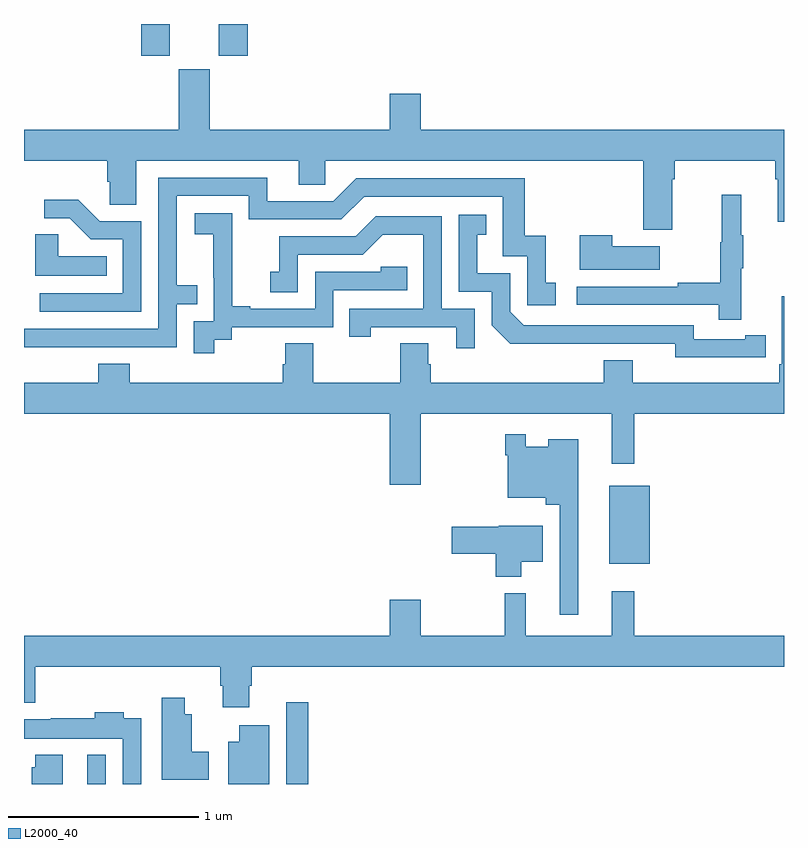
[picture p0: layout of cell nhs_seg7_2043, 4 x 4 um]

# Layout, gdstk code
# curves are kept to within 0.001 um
import gdstk
lib = gdstk.Library(unit=1e-6, precision=1e-09)
def R(c, l, rs):  # rectangles x0, y0, x1, y1
    for r in rs: c.add(gdstk.rectangle(r[:2], r[2:], *l))
def P(c, l, *ps):  # polygons
    for p in ps: c.add(gdstk.Polygon(p, *l))
L2000_40 = (2000, 40)

nhs_seg7_2043 = lib.new_cell('nhs_seg7_2043')
R(nhs_seg7_2043, L2000_40, [(247.334,1000,247.431,1000.153), (248.379,1000,248.495,1000.429), (250.079,1001.159,250.294,1001.569), (247.616,1003.833,247.768,1004), (248.024,1003.833,248.177,1004)])
P(nhs_seg7_2043, L2000_40, [(250.411,1003.184),(250.424,1003.184),(250.424,1003.28),(250.955,1003.28),(250.955,1003.184),(250.967,1003.184),(250.967,1002.96),(251,1002.96),(251,1003.444),(249.088,1003.444),(249.088,1003.633),(248.924,1003.633),(248.924,1003.444),(247.978,1003.444),(247.978,1003.761),(247.814,1003.761),(247.814,1003.444),(247,1003.444),(247,1003.28),(247.439,1003.28),(247.439,1003.171),(247.452,1003.171),(247.452,1003.048),(247.591,1003.048),(247.591,1003.28),(248.447,1003.28),(248.447,1003.153),(248.586,1003.153),(248.586,1003.28),(250.259,1003.28),(250.259,1002.918),(250.411,1002.918)],
  [(247.307,1002.3),(247.803,1002.3),(247.803,1002.525),(247.913,1002.525),(247.913,1002.626),(247.803,1002.626),(247.803,1003.095),(248.184,1003.095),(248.184,1002.972),(248.67,1002.972),(248.79,1003.092),(249.519,1003.092),(249.519,1002.777),(249.648,1002.777),(249.648,1002.519),(249.799,1002.519),(249.799,1002.639),(249.746,1002.639),(249.746,1002.886),(249.635,1002.886),(249.635,1003.188),(248.748,1003.188),(248.628,1003.068),(248.281,1003.068),(248.281,1003.191),(247.707,1003.191),(247.707,1002.396),(247,1002.396),(247,1002.299)],
  [(250.775,1002.715),(250.786,1002.715),(250.786,1002.889),(250.775,1002.889),(250.775,1003.102),(250.672,1003.102),(250.672,1002.852),(250.665,1002.852),(250.665,1002.638),(250.441,1002.638),(250.441,1002.618),(249.909,1002.618),(249.909,1002.522),(250.657,1002.522),(250.657,1002.444),(250.775,1002.444)],
  [(247.617,1002.963),(247.398,1002.963),(247.285,1003.076),(247.107,1003.076),(247.107,1002.978),(247.241,1002.978),(247.352,1002.867),(247.521,1002.867),(247.521,1002.582),(247.083,1002.582),(247.083,1002.486),(247.617,1002.486)],
  [(248.002,1002.337),(248.094,1002.337),(248.094,1002.405),(248.628,1002.405),(248.628,1002.6),(249.017,1002.6),(249.017,1002.723),(248.877,1002.723),(248.877,1002.696),(248.532,1002.696),(248.532,1002.501),(248.191,1002.501),(248.191,1002.514),(248.096,1002.514),(248.096,1002.797),(248.097,1002.797),(248.097,1003.003),(247.899,1003.003),(247.899,1002.893),(247.997,1002.893),(247.997,1002.665),(247.998,1002.665),(247.998,1002.435),(247.893,1002.435),(247.893,1002.267),(248.002,1002.267)],
  [(250.796,1002.246),(250.904,1002.246),(250.904,1002.362),(250.796,1002.362),(250.796,1002.342),(250.524,1002.342),(250.524,1002.414),(249.63,1002.414),(249.558,1002.486),(249.558,1002.687),(249.385,1002.687),(249.385,1002.891),(249.434,1002.891),(249.434,1002.997),(249.288,1002.997),(249.288,1002.591),(249.462,1002.591),(249.462,1002.414),(249.56,1002.317),(250.428,1002.318),(250.428,1002.245)],
  [(249.372,1002.501),(249.198,1002.501),(249.198,1002.987),(248.852,1002.987),(248.747,1002.882),(248.344,1002.882),(248.344,1002.697),(248.295,1002.697),(248.295,1002.588),(248.442,1002.588),(248.442,1002.786),(248.784,1002.786),(248.888,1002.89),(249.102,1002.89),(249.102,1002.501),(248.713,1002.501),(248.713,1002.354),(248.824,1002.354),(248.824,1002.405),(249.275,1002.405),(249.275,1002.294),(249.372,1002.294)],
  [(247.436,1002.778),(247.179,1002.778),(247.179,1002.893),(247.058,1002.893),(247.058,1002.674),(247.436,1002.674)],
  [(250.345,1002.829),(250.097,1002.829),(250.097,1002.889),(249.926,1002.889),(249.926,1002.707),(250.345,1002.707)],
  [(249.088,1001.948),(250.094,1001.948),(250.094,1001.685),(250.211,1001.685),(250.211,1001.948),(251,1001.948),(251,1002.568),(250.989,1002.568),(250.989,1002.208),(250.976,1002.208),(250.976,1002.112),(250.204,1002.112),(250.204,1002.229),(250.052,1002.229),(250.052,1002.112),(249.14,1002.112),(249.14,1002.21),(249.127,1002.21),(249.127,1002.32),(248.98,1002.32),(248.98,1002.112),(248.523,1002.112),(248.523,1002.32),(248.375,1002.32),(248.375,1002.21),(248.363,1002.21),(248.363,1002.112),(247.556,1002.112),(247.556,1002.211),(247.391,1002.211),(247.391,1002.112),(247,1002.112),(247,1001.948),(248.924,1001.948),(248.924,1001.574),(249.088,1001.574)],
  [(249.916,1001.815),(249.758,1001.815),(249.758,1001.776),(249.642,1001.776),(249.642,1001.842),(249.534,1001.842),(249.534,1001.729),(249.546,1001.729),(249.546,1001.507),(249.746,1001.507),(249.746,1001.471),(249.819,1001.471),(249.819,1000.89),(249.916,1000.89)],
  [(249.616,1001.171),(249.73,1001.171),(249.73,1001.359),(249.498,1001.359),(249.498,1001.354),(249.252,1001.354),(249.252,1001.212),(249.482,1001.212),(249.482,1001.09),(249.616,1001.09)],
  [(248.185,1000.518),(248.198,1000.518),(248.198,1000.616),(251,1000.616),(251,1000.78),(250.211,1000.78),(250.211,1001.014),(250.094,1001.014),(250.094,1000.78),(249.641,1000.78),(249.641,1001.005),(249.531,1001.005),(249.531,1000.78),(249.088,1000.78),(249.088,1000.969),(248.924,1000.969),(248.924,1000.78),(247,1000.78),(247,1000.427),(247.058,1000.427),(247.058,1000.616),(248.033,1000.616),(248.033,1000.518),(248.045,1000.518),(248.045,1000.404),(248.185,1000.404)],
  [(247.972,1000.17),(247.882,1000.17),(247.882,1000.366),(247.846,1000.366),(247.846,1000.453),(247.724,1000.453),(247.724,1000.022),(247.972,1000.022)],
  [(247.617,1000.345),(247.525,1000.345),(247.525,1000.378),(247.373,1000.378),(247.373,1000.345),(247.141,1000.345),(247.141,1000.342),(247,1000.342),(247,1000.238),(247.521,1000.238),(247.521,1000),(247.617,1000)],
  [(248.29,1000.309),(248.132,1000.309),(248.132,1000.222),(248.075,1000.222),(248.075,1000),(248.29,1000)],
  [(247.204,1000.153),(247.058,1000.153),(247.058,1000.089),(247.04,1000.089),(247.04,1000),(247.204,1000)])

lib.write_gds('nhs_seg7_2043.gds')
